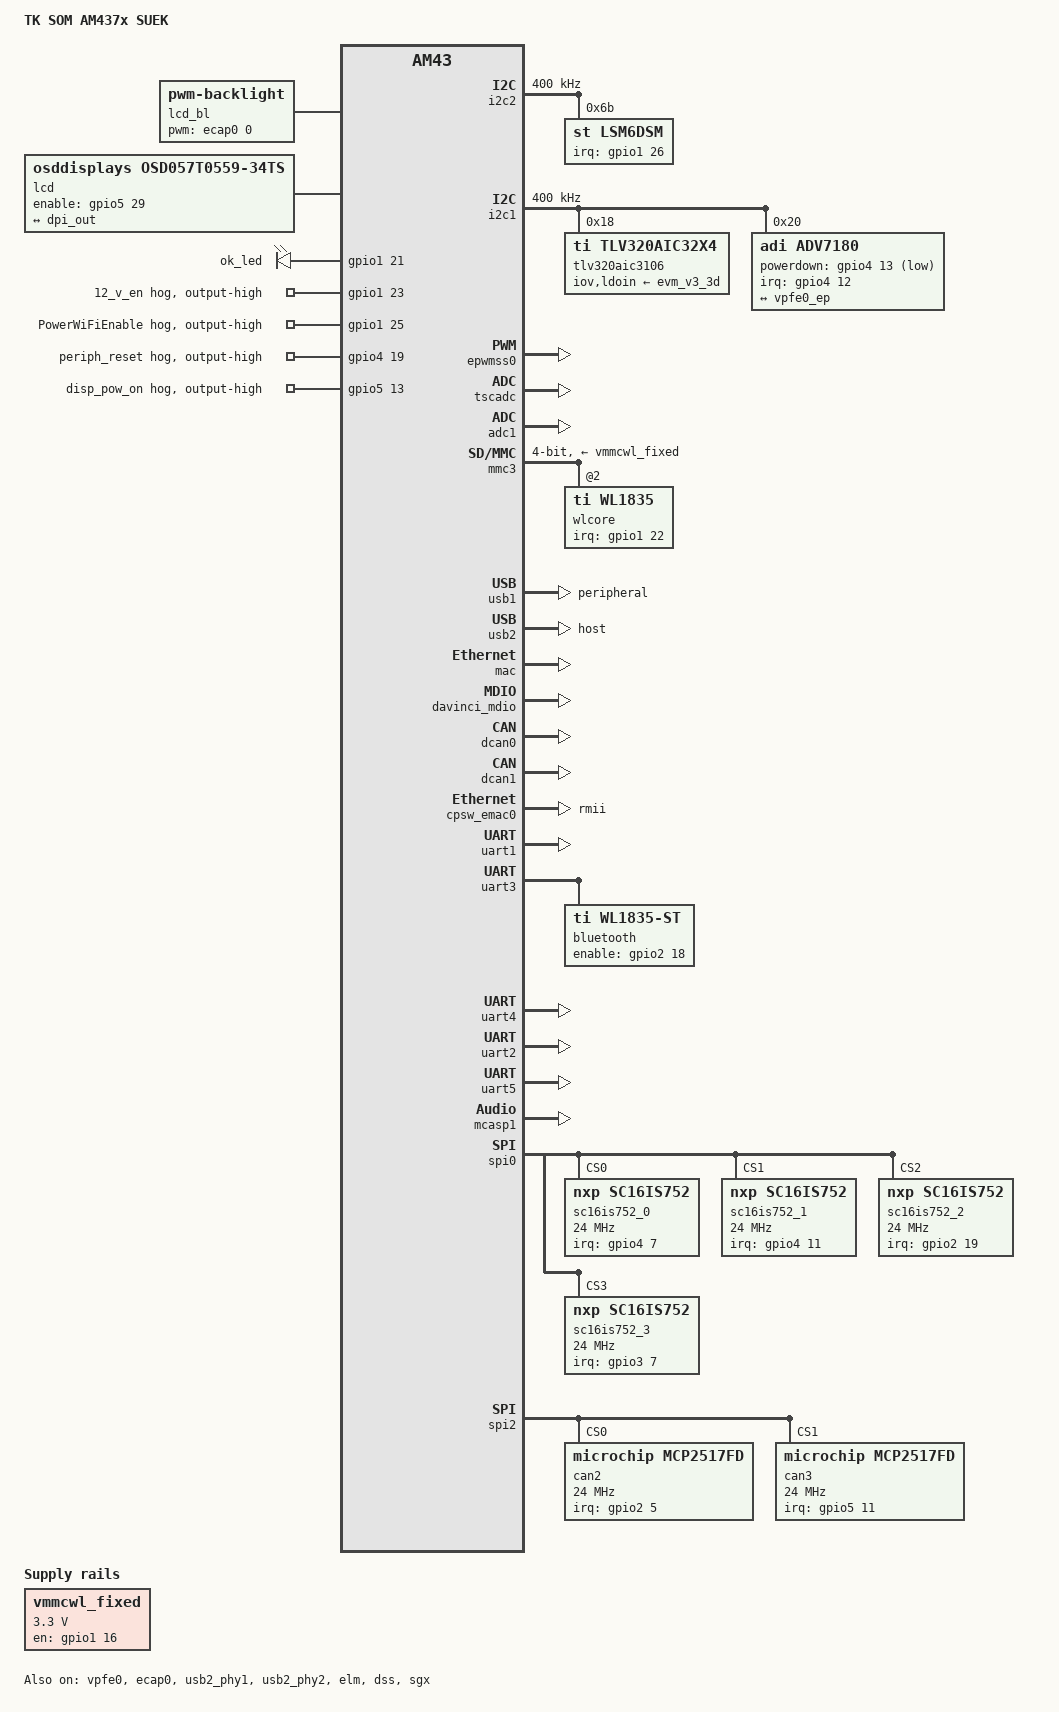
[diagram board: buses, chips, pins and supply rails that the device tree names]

/dts-v1/;

#include "am4372.dtsi"
#include "tk-som-am43xx.dtsi"
#include <dt-bindings/pinctrl/am43xx.h>
#include <dt-bindings/pwm/pwm.h>
#include <dt-bindings/gpio/gpio.h>
#include <dt-bindings/input/input.h>

/ {

	model = "TK SOM AM437x SUEK";
	compatible = "technokom,suek","ti,am4378","ti,am43";

	aliases {
		display0 = &lcd0;
	};

	vmmcwl_fixed: fixedregulator-mmcwl {
		compatible = "regulator-fixed";
		regulator-name = "vmmcwl_fixed";
		regulator-min-microvolt = <3300000>;
		regulator-max-microvolt = <3300000>;
		gpio = <&gpio1 16 GPIO_ACTIVE_HIGH>;
		enable-active-high;
	};

	lcd_bl: backlight {
		compatible = "pwm-backlight";
		pwms = <&ecap0 0 50000 0>;
		brightness-levels = <0 10 20 30 40 50 60 70 80 90 100 124 155 186 217 255>;
		default-brightness-level = <15>;
	};


	lcd0: display {
		compatible = "osddisplays,osd057T0559-34ts", "panel-dpi";
		label = "lcd";
		
		pinctrl-names = "default";
		pinctrl-0 = <&lvds_pin_shutdown>;
		enable-gpios = <&gpio5 29 GPIO_ACTIVE_HIGH>;

		panel-timing {
			clock-frequency = <51206400>;
			hactive = <1024>;
			vactive = <600>;
            hfront-porch = <160>;
            hback-porch = <160>;
            hsync-len = <10>;
            vfront-porch = <12>;
            vback-porch = <23>;
            vsync-len = <10>;
            hsync-active = <0>;
            vsync-active = <0>;
			de-active = <1>;
			pixelclk-active = <1>;
		};

		port {
			lcd_in: endpoint {
				remote-endpoint = <&dpi_out>;
			};
		};
	};

    leds {
		pinctrl-names = "default";
		pinctrl-0 = <&led_pins_default>;

		compatible = "gpio-leds";

		ok_led {
			label = "ok_led";
			gpios = <&gpio1 21 GPIO_ACTIVE_HIGH>;
			default-state = "off";
		};
    };

	sound0: sound@0 {
		compatible = "simple-audio-card";
		simple-audio-card,name = "AM437x-TK";
		simple-audio-card,widgets =
            "Headphone", "Headphone Jack",
			"Line", "Line In",
            "Speaker", "Speaker";
		simple-audio-card,routing =
			"Headphone Jack", "HPL",
			"Headphone Jack", "HPR",
			"CM_L", "Line In",
			"CM_R", "Line In",
			"Speaker", "LOL",
			"Speaker", "LOR";
		simple-audio-card,format = "dsp_b";
		simple-audio-card,bitclock-master = <&sound_master>;
		simple-audio-card,frame-master = <&sound_master>;
		simple-audio-card,bitclock-inversion;

		simple-audio-card,cpu {
			sound-dai = <&mcasp1>;
            system-clock-frequency = <24000000>;
		};

		sound_master: simple-audio-card,codec {
			sound-dai = <&tlv320aic3106>;
			system-clock-frequency = <24000000>;
		};
    };

};

&am43xx_pinmux {
	pinctrl-names = "default";
	pinctrl-0 = <&wlan_pins_default &clkout1_pin>;

    /* can 0 */
	dcan0_default: dcan0_default_pins {
		pinctrl-single,pins = <
			AM4372_IOPAD(0x91c, PIN_OUTPUT | MUX_MODE1)		/* (C16) mii1_txd3.dcan0_tx */
			AM4372_IOPAD(0x920, PIN_INPUT_PULLUP | MUX_MODE1)	/* (C13) mii1_txd2.dcan0_rx */
		>;
	};
    /* can 1 */
	dcan1_default: dcan1_default_pins {
		pinctrl-single,pins = <
			AM4372_IOPAD(0x980, PIN_OUTPUT | MUX_MODE2)		/* uart1_rxd.d_can1_tx */
			AM4372_IOPAD(0x984, PIN_INPUT_PULLUP | MUX_MODE2)	/* uart1_txd.d_can1_rx */
		>;
	};

    /* i2c1 */
	i2c1_pins_default: i2c1_pins_default {
		pinctrl-single,pins = <
			AM4372_IOPAD(0xa40, PIN_INPUT_PULLUP | SLEWCTRL_FAST | MUX_MODE1)  /* (G20) gpio5_10.I2C1_SCL */
			AM4372_IOPAD(0xa48, PIN_INPUT_PULLUP | SLEWCTRL_FAST | MUX_MODE1)  /* (E25) gpio5_12.I2C1_SDA */
		>;
	};

    /* i2c2 */
	i2c2_pins_default: i2c2_pins_default {
		pinctrl-single,pins = <
            AM4372_IOPAD(0x97c, PIN_INPUT_PULLUP | SLEWCTRL_FAST | MUX_MODE3) /* (L22) uart1_rtsn.I2C2_SCL */
			AM4372_IOPAD(0x978, PIN_INPUT_PULLUP | SLEWCTRL_FAST | MUX_MODE3) /* (K22) uart1_ctsn.I2C2_SDA */
		>;
	};

    /* mmc2 wifi */
	mmc2_pins: pinmux_mmc2_pins {
		pinctrl-single,pins = <
			AM4372_IOPAD(0x88c, PIN_INPUT_PULLUP | MUX_MODE3 ) /* (A12) gpmc_clk.mmc2_clk */
			AM4372_IOPAD(0x888, PIN_INPUT_PULLUP | MUX_MODE3 ) /* (B12) gpmc_csn3.mmc2_cmd */
			AM4372_IOPAD(0x844, PIN_INPUT_PULLUP | MUX_MODE3 ) /* (C5) gpmc_a1.mmc2_dat0 */
			AM4372_IOPAD(0x848, PIN_INPUT_PULLUP | MUX_MODE3 ) /* (C6) gpmc_a2.mmc2_dat1 */
			AM4372_IOPAD(0x84c, PIN_INPUT_PULLUP | MUX_MODE3 ) /* (A4) gpmc_a3.mmc2_dat2 */
			AM4372_IOPAD(0x878, PIN_INPUT_PULLUP | MUX_MODE3 ) /* (A3) gpmc_be1n.mmc2_dat3 */
		>;
	};

    /* backlight */
	ecap0_pins_default: backlight_pins_default {
		pinctrl-single,pins = <
			AM4372_IOPAD(0x964, PIN_OUTPUT_PULLUP | MUX_MODE0)       /* eCAP0_in_PWM0_out MODE0 */
		>;
	};

    /* RMII */
	cpsw_default: cpsw_default {
		pinctrl-single,pins = <
			AM4372_IOPAD(0x90c, PIN_INPUT_PULLUP | MUX_MODE1 ) /* (B14) mii1_crs.rmii1_crs_dv */
			AM4372_IOPAD(0x910, PIN_INPUT_PULLUP | MUX_MODE1 ) /* (B13) mii1_rx_er.rmii1_rxer */
			AM4372_IOPAD(0x914, PIN_OUTPUT_PULLDOWN | MUX_MODE1 ) /* (A13) mii1_tx_en.rmii1_txen */
			AM4372_IOPAD(0x928, PIN_OUTPUT_PULLDOWN | MUX_MODE1 ) /* (B15) mii1_txd0.rmii1_txd0 */
			AM4372_IOPAD(0x924, PIN_OUTPUT_PULLDOWN | MUX_MODE1 ) /* (A14) mii1_txd1.rmii1_txd1 */
			AM4372_IOPAD(0x940, PIN_INPUT | MUX_MODE1 ) /* (F17) mii1_rxd0.rmii1_rxd0 */
			AM4372_IOPAD(0x93c, PIN_INPUT | MUX_MODE1 ) /* (B16) mii1_rxd1.rmii1_rxd1 */
			AM4372_IOPAD(0x944, PIN_INPUT_PULLUP | MUX_MODE0 ) /* (A16) rmii1_ref_clk.rmii1_refclk */

		>;
	};

    /* mdio ethernet */
	davinci_mdio_default: davinci_mdio_default {
		pinctrl-single,pins = <
			AM4372_IOPAD(0x948, PIN_INPUT_PULLUP | SLEWCTRL_FAST | MUX_MODE0)	/* mdio_data.mdio_data */
			AM4372_IOPAD(0x94c, PIN_OUTPUT_PULLUP | MUX_MODE0)			/* mdio_clk.mdio_clk */
		>;
	};

    /* display */
	dss_pins: dss_pins {
		pinctrl-single,pins = <
            AM4372_IOPAD(0x8e0, PIN_OUTPUT_PULLUP | MUX_MODE0) /* (B23) dss_vsync.dss_vsync */
            AM4372_IOPAD(0x8e4, PIN_OUTPUT_PULLUP | MUX_MODE0) /* (A23) dss_hsync.dss_hsync */
            AM4372_IOPAD(0x8e8, PIN_OUTPUT_PULLUP | MUX_MODE0) /* (A22) dss_pclk.dss_pclk */
            AM4372_IOPAD(0x8ec, PIN_OUTPUT_PULLUP | MUX_MODE0) /* (A24) dss_ac_bias_en.dss_ac_bias_en */
            AM4372_IOPAD(0x8a0, PIN_OUTPUT_PULLUP | MUX_MODE0) /* (B22) dss_data0.dss_data0 */
            AM4372_IOPAD(0x8a4, PIN_OUTPUT_PULLUP | MUX_MODE0) /* (A21) dss_data1.dss_data1 */
            AM4372_IOPAD(0x8a8, PIN_OUTPUT_PULLUP | MUX_MODE0) /* (B21) dss_data2.dss_data2 */
            AM4372_IOPAD(0x8ac, PIN_OUTPUT_PULLUP | MUX_MODE0) /* (C21) dss_data3.dss_data3 */
            AM4372_IOPAD(0x8b0, PIN_OUTPUT_PULLUP | MUX_MODE0) /* (A20) dss_data4.dss_data4 */
            AM4372_IOPAD(0x8b4, PIN_OUTPUT_PULLUP | MUX_MODE0) /* (B20) dss_data5.dss_data5 */
            AM4372_IOPAD(0x8b8, PIN_OUTPUT_PULLUP | MUX_MODE0) /* (C20) dss_data6.dss_data6 */
            AM4372_IOPAD(0x8bc, PIN_OUTPUT_PULLUP | MUX_MODE0) /* (E19) dss_data7.dss_data7 */
            AM4372_IOPAD(0x8c0, PIN_OUTPUT_PULLUP | MUX_MODE0) /* (A19) dss_data8.dss_data8 */
            AM4372_IOPAD(0x8c4, PIN_OUTPUT_PULLUP | MUX_MODE0) /* (B19) dss_data9.dss_data9 */
            AM4372_IOPAD(0x8c8, PIN_OUTPUT_PULLUP | MUX_MODE0) /* (A18) dss_data10.dss_data10 */
            AM4372_IOPAD(0x8cc, PIN_OUTPUT_PULLUP | MUX_MODE0) /* (B18) dss_data11.dss_data11 */
            AM4372_IOPAD(0x8d0, PIN_OUTPUT_PULLUP | MUX_MODE0) /* (C19) dss_data12.dss_data12 */
            AM4372_IOPAD(0x8d4, PIN_OUTPUT_PULLUP | MUX_MODE0) /* (D19) dss_data13.dss_data13 */
            AM4372_IOPAD(0x8d8, PIN_OUTPUT_PULLUP | MUX_MODE0) /* (C17) dss_data14.dss_data14 */
            AM4372_IOPAD(0x8dc, PIN_OUTPUT_PULLUP | MUX_MODE0) /* (D17) dss_data15.dss_data15 */
            AM4372_IOPAD(0x83c, PIN_OUTPUT_PULLUP | MUX_MODE1) /* (A11) gpmc_ad15.dss_data16 */
            AM4372_IOPAD(0x838, PIN_OUTPUT_PULLUP | MUX_MODE1) /* (B11) gpmc_ad14.dss_data17 */
		>;
	};

	/* display enable */
	dss_pin_enable: dss_pin_enable {
		pinctrl-single,pins = <
			AM4372_IOPAD(0xa4c, PIN_OUTPUT_PULLUP | MUX_MODE7)

		>;
	};

    /* lvds en */
	lvds_pin_shutdown: lvds_pin_shutdown {
		pinctrl-single,pins = <
			AM4372_IOPAD(0xa74, PIN_OUTPUT_PULLUP | MUX_MODE9)

		>;
	};

    /* periph_reset */
   	periph_pin_reset: periph_reset {
		pinctrl-single,pins = <
			AM4372_IOPAD(0x9fc, PIN_OUTPUT | MUX_MODE7) /* (AE23) cam1_data5_gpio4[19] */
		>;
	};

    /* uart1 modem */
    uart1_pins_default: uart1_pins_default {
		pinctrl-single,pins = <
			AM4372_IOPAD(0x9e8, PIN_INPUT_PULLUP | MUX_MODE1) /* (AB20) cam1_data0.uart1_rxd */
			AM4372_IOPAD(0x9ec, PIN_OUTPUT | MUX_MODE1) /* (AC21) cam1_data1.uart1_txd */
			AM4372_IOPAD(0x9f0, PIN_INPUT_PULLUP | MUX_MODE1) /* (AD21) cam1_data2.uart1_ctsn */
			AM4372_IOPAD(0x9f4, PIN_OUTPUT | MUX_MODE1) /* (AE22) cam1_data3.uart1_rtsn */
		>;
	};

    /* sim sel */
	sim_pin_change: sim_pin_change {
		pinctrl-single,pins = <
			AM4372_IOPAD(0xa78, PIN_OUTPUT | MUX_MODE7 ) /* (H20) clkreq.gpio0[24] */
		>;
	};

    /* rs485_1 */
    uart2_pins: uart2_pins {
        pinctrl-single,pins = <
		    AM4372_IOPAD(0x92c, PIN_INPUT_PULLUP | MUX_MODE1 ) /* (D14) mii1_tx_clk.uart2_rxd */
    		AM4372_IOPAD(0x930, PIN_OUTPUT_PULLDOWN | MUX_MODE1 ) /* (D13) mii1_rx_clk.uart2_txd */
    		AM4372_IOPAD(0x834,  PIN_OUTPUT_PULLDOWN | MUX_MODE7 ) /* (C11) gpmc_ad13.gpio1[13] */
	    >;
    };

    /* rs485_2 */
    uart4_pins: uart4_pins {
        pinctrl-single,pins = <
            AM4372_IOPAD(0x968, PIN_INPUT_PULLUP | MUX_MODE1) /* (L25) uart0_ctsn.uart4_rxd */
			AM4372_IOPAD(0x96c, PIN_OUTPUT_PULLDOWN | MUX_MODE1) /* (J25) uart0_rtsn.uart4_txd */
            AM4372_IOPAD(0x830, PIN_OUTPUT_PULLDOWN | MUX_MODE7) /* (E11) gpmc_ad12.gpio1[12] */
	    >;
    };

    /* inputs */
    gpio3_input_pins_default: pinmux_gpio3_input_pins_default {
		pinctrl-single,pins = <
            AM4372_IOPAD(0x994, PIN_INPUT | MUX_MODE7) /* (N22) mcasp0_fsx.gpio3[15] */
			AM4372_IOPAD(0x998, PIN_INPUT | MUX_MODE7) /* (H23) mcasp0_axr0.gpio3[16] */
			AM4372_IOPAD(0x99c, PIN_INPUT | MUX_MODE7) /* (M24) mcasp0_ahclkr.gpio3[17] */
		>;
    };

    led_pins_default: led_pins_default {
		pinctrl-single,pins = <
			AM4372_IOPAD(0x854, PIN_OUTPUT_PULLDOWN | MUX_MODE7) /* (E7) gpmc_a5.gpio1[21] */
		>;
	};

    /* Buzzer */
    buzzer_output_pins_default: pinmux_buzzer_output_pins_default {
		pinctrl-single,pins = <
            AM4372_IOPAD(0x860, PIN_OUTPUT | MUX_MODE7) /* (F7) gpmc_a8.gpio1[24] */
		>;
    };

    /* Brake */
    brake_output_pins_default: pinmux_brake_output_pins_default {
		pinctrl-single,pins = <
            AM4372_IOPAD(0x86c, PIN_OUTPUT | MUX_MODE7) /* (D8) gpmc_a11.gpio1[27] */
		>;
    };

    /* 12V En */
    v12_output_pins_default: pinmux_v12_output_pins_default {
		pinctrl-single,pins = <
            AM4372_IOPAD(0x85c, PIN_OUTPUT | MUX_MODE7) /* (F6) gpmc_a7.gpio1[23] */
		>;
    };

    /* Led */
    led_output_pins_default: pinmux_led_output_pins_default {
		pinctrl-single,pins = <
            AM4372_IOPAD(0x854, PIN_OUTPUT | MUX_MODE7) /* (E7) gpmc_a5.gpio1[21] */
		>;
    };

    /* accl int */
    accl_input_pins_default: pinmux_accl_input_pins_default {
		pinctrl-single,pins = <
            AM4372_IOPAD(0x868, PIN_INPUT_PULLUP | MUX_MODE7) /* (G8) gpmc_a10.gpio1[26] */
		>;
    };

    /* charger int */
    charger_input_pins_default: pinmux_charger_input_pins_default {
		pinctrl-single,pins = <
            AM4372_IOPAD(0x894, PIN_INPUT_PULLUP | MUX_MODE7) /* (E10) gpmc_oen_ren.gpio2[3] */
		>;
    };

    /* inputs */
    gpio4_input_pins_default: pinmux_gpio4_input_pins_default {
		pinctrl-single,pins = <
            AM4372_IOPAD(0x9c8, PIN_INPUT | MUX_MODE7) /* (AA19) cam0_data9.gpio4[6] */
		>;
    };

    /* mcasp1 */
	mcasp1_pins: mcasp1_pins {
		pinctrl-single,pins = <
            AM4372_IOPAD(0x9a0, PIN_INPUT_PULLDOWN | MUX_MODE3) /* (L23) mcasp0_aclkr.mcasp1_aclkx */
			AM4372_IOPAD(0x9a4, PIN_INPUT_PULLDOWN | MUX_MODE3) /* (K23) mcasp0_fsr.mcasp1_fsx */
			AM4372_IOPAD(0x9a8, PIN_OUTPUT_PULLDOWN | MUX_MODE3) /* (M25) mcasp0_axr1.mcasp1_axr0 */
			AM4372_IOPAD(0x9ac, PIN_INPUT_PULLDOWN | MUX_MODE3) /* (L24) mcasp0_ahclkx.mcasp1_axr1 */
		>;
	};

    /* gsm pow on */
	modem_pow_pin_enable: modem_pow_pin_enable {
		pinctrl-single,pins = <
	        AM4372_IOPAD(0x898, PIN_OUTPUT | MUX_MODE7 ) /* (D10) gpmc_wen.gpio2[4] */
		>;
	};


    /* pfo */
	pfo_pin_interrupt: pfo_pin_interrupt {
		pinctrl-single,pins = <
	        AM4372_IOPAD(0x9bc, PIN_INPUT | MUX_MODE7) /* (AD17) cam0_wen.gpio4[3] */
		>;
	};



    /* cam0 */
	vpfe0_pins_default: vpfe0_pins_default {
		pinctrl-single,pins = <
            AM4372_IOPAD(0x9b0, PIN_INPUT_PULLUP | MUX_MODE0) /* (AE17) cam0_hd.cam0_hd */
			AM4372_IOPAD(0x9b4, PIN_INPUT_PULLUP | MUX_MODE0) /* (AD18) cam0_vd.cam0_vd */
			AM4372_IOPAD(0x9c0, PIN_INPUT_PULLUP | MUX_MODE0) /* (AC20) cam0_pclk.cam0_pclk */
			AM4372_IOPAD(0xa08, PIN_INPUT_PULLUP | MUX_MODE0) /* (AE18) cam0_data0.cam0_data0 */
			AM4372_IOPAD(0xa0c, PIN_INPUT_PULLUP | MUX_MODE0) /* (AB18) cam0_data1.cam0_data1 */
			AM4372_IOPAD(0xa10, PIN_INPUT_PULLUP | MUX_MODE0) /* (Y18) cam0_data2.cam0_data2 */
			AM4372_IOPAD(0xa14, PIN_INPUT_PULLUP | MUX_MODE0) /* (AA18) cam0_data3.cam0_data3 */
			AM4372_IOPAD(0xa18, PIN_INPUT_PULLUP | MUX_MODE0) /* (AE19) cam0_data4.cam0_data4 */
			AM4372_IOPAD(0xa1c, PIN_INPUT_PULLUP | MUX_MODE0) /* (AD19) cam0_data5.cam0_data5 */
			AM4372_IOPAD(0xa20, PIN_INPUT_PULLUP | MUX_MODE0) /* (AE20) cam0_data6.cam0_data6 */
			AM4372_IOPAD(0xa24, PIN_INPUT_PULLUP | MUX_MODE0) /* (AD20) cam0_data7.cam0_data7 */
		>;
	};

    /* cam0 i2c*/
	vpfe0_pins_control_default: vpfe0_pins_control_default {
		pinctrl-single,pins = <
            AM4372_IOPAD(0x9b8, PIN_INPUT | MUX_MODE7) /* (AC18) cam0_field.gpio4[2] */

			AM4372_IOPAD(0x9e0, PIN_INPUT | MUX_MODE7) /* (AC25) cam1_field.gpio4[12] */
			AM4372_IOPAD(0x9e4, PIN_OUTPUT_PULLUP | MUX_MODE7) /* (AB25) cam1_wen.gpio4[13] */
		>;
	};

    /* mclk */
	clkout1_pin: pinmux_clkout1_pin {
		pinctrl-single,pins = <
			AM4372_IOPAD(0xa70, PIN_OUTPUT_PULLDOWN | MUX_MODE3)	/* XDMA_EVENT_INTR0/CLKOUT1 */
		>;
	};

    /* uart3 bt */
    uart3_pins: uart3_pins {
        pinctrl-single,pins = <
            AM4372_IOPAD(0xa28, PIN_INPUT | MUX_MODE0) /* (H25) uart3_rxd.uart3_rxd */
			AM4372_IOPAD(0xa2c, PIN_OUTPUT_PULLDOWN | MUX_MODE0) /* (H24) uart3_txd.uart3_txd */
			AM4372_IOPAD(0xa30, PIN_INPUT_PULLUP | MUX_MODE0) /* (H22) uart3_ctsn.uart3_ctsn */
			AM4372_IOPAD(0xa34, PIN_OUTPUT_PULLDOWN | MUX_MODE0) /* (K24) uart3_rtsn.uart3_rtsn */

            AM4372_IOPAD(0x934, PIN_OUTPUT | MUX_MODE7) /* (C14) mii1_rxd3.gpior2[18] bt enable*/
	    >;
    };

    /* uart gps */
    uart5_pins: uart5_pins {
        pinctrl-single,pins = <
    		AM4372_IOPAD(0x908, PIN_INPUT_PULLUP | MUX_MODE3 ) /* (D16) mii1_col.uart5_rxd */
    		AM4372_IOPAD(0x918, PIN_OUTPUT_PULLDOWN | MUX_MODE3 ) /* (A15) mii1_rx_dv.uart5_txd */

            AM4372_IOPAD(0xa38, PIN_OUTPUT | MUX_MODE7) /* (D25) gpio5_8.gpio5[8] gps pow on*/
	    >;
    };

    /* wlan pins */
	wlan_pins_default: pinmux_wlan_pins_default {
		pinctrl-single,pins = <
			AM4372_IOPAD(0x858, PIN_INPUT  | WAKEUP_ENABLE | MUX_MODE7 ) /* (E8) gpmc_a6.gpio1[22] irq*/
            AM4372_IOPAD(0x840, PIN_OUTPUT | MUX_MODE7) /* (C3) gpmc_a0.gpio1[16] wifi enable*/
            AM4372_IOPAD(0x864, PIN_OUTPUT | MUX_MODE7) /* (B4) gpmc_a9.gpio1[25] power en*/
		>;
	};

    /* spi0 */
	spi0_pins: spi0_pins {
		pinctrl-single,pins = <
            AM4372_IOPAD(0x950, PIN_INPUT_PULLUP | MUX_MODE0) /* (P23) spi0_sclk.spi0_sclk */
			AM4372_IOPAD(0x954, PIN_INPUT_PULLDOWN | MUX_MODE0) /* (T22) spi0_d0.spi0_d0 */
			AM4372_IOPAD(0x958, PIN_INPUT_PULLDOWN | MUX_MODE0) /* (T21) spi0_d1.spi0_d1 */
			AM4372_IOPAD(0x95c, PIN_INPUT | MUX_MODE0) /* (T20) spi0_cs0.spi0_cs0 */
			AM4372_IOPAD(0x960, PIN_INPUT | MUX_MODE0) /* (R25) spi0_cs1.spi0_cs1 */
			AM4372_IOPAD(0x9d0, PIN_INPUT | MUX_MODE2) /* (AD24) cam1_data8.spi0_cs2 */
			AM4372_IOPAD(0x9d4, PIN_INPUT | MUX_MODE2) /* (AD25) cam1_hd.spi0_cs3 */

            AM4372_IOPAD(0x9cc, PIN_INPUT | MUX_MODE7) /* (AC24) cam1_data9.gpio4[7] brige 0*/
            AM4372_IOPAD(0x9dc, PIN_INPUT | MUX_MODE7) /* (AE21) cam1_pclk.gpio4[11] brige 1*/
            AM4372_IOPAD(0x938, PIN_INPUT | MUX_MODE7) /* (E16) mii1_rxd2.gpio2[19] brige 2*/
            AM4372_IOPAD(0xaa4, PIN_INPUT | MUX_MODE7) /* (N23) EMU0.gpio3[7] bridge 3*/

		>;
	};

    /* spi2 */
	spi2_pins: spi2_pins {
		pinctrl-single,pins = <
            AM4372_IOPAD(0xa60, PIN_INPUT_PULLUP | MUX_MODE0) /* (N20) spi2_sclk.spi2_sclk */
			AM4372_IOPAD(0xa64, PIN_INPUT | MUX_MODE0) /* (P22) spi2_d0.spi2_d0 */
			AM4372_IOPAD(0xa68, PIN_INPUT | MUX_MODE0) /* (P20) spi2_d1.spi2_d1 */
			AM4372_IOPAD(0xa6c, PIN_INPUT | MUX_MODE0) /* (T23) spi2_cs0.spi2_cs0 */
			AM4372_IOPAD(0x9d8, PIN_INPUT | MUX_MODE4) /* (AC23) cam1_vd.spi2_cs2 */

            AM4372_IOPAD(0xa44, PIN_INPUT_PULLUP | MUX_MODE7) /* (F23) gpio5_11.gpio5[11] brige 4*/
            AM4372_IOPAD(0x89c, PIN_INPUT_PULLUP | MUX_MODE7) /* (C10) gpmc_be0n_cle.gpio2[5] brige 5*/

		>;
	};

};

&i2c2 {
	status = "okay";
	pinctrl-names = "default";
	pinctrl-0 = <&i2c2_pins_default &accl_input_pins_default>;
	clock-frequency = <400000>;

    lsm6dsm@6b {
    	compatible = "st,lsm6dsm";
	    reg = <0x6b>;
    	interrupt-parent = <&gpio1>;
    	interrupts = <26 IRQ_TYPE_EDGE_RISING>;
    };
};

&i2c1 {
	status = "okay";
	pinctrl-names = "default";
	pinctrl-0 = <&i2c1_pins_default &charger_input_pins_default>;
	clock-frequency = <400000>;


	tlv320aic3106: tlv320aic3106@18 {
		#sound-dai-cells = <0>;
		compatible = "ti,tlv320aic32x4";
		reg = <0x18>;
		status = "okay";
	    clocks = <&audio_mstrclk>;
	    clock-names = "mclk";

        iov-supply = <&evm_v3_3d>;
        ldoin-supply = <&evm_v3_3d>;

	};


	adv7180@20 {
		compatible = "adi,adv7180";
        powerdown-gpios = <&gpio4 13 GPIO_ACTIVE_LOW>;
    	pinctrl-names = "default";
		pinctrl-0 = <&vpfe0_pins_control_default>;
		interrupt-parent = <&gpio4>;
		interrupts = <12 IRQ_TYPE_LEVEL_LOW>;

		reg = <0x20>;

		port {
			adv7180_0: endpoint {
				remote-endpoint = <&vpfe0_ep>;
                ti,am437x-vpfe-interface = <1>;
                bus-width = <8>;
			};
		};
	};

};

&vpfe0 {
	status = "okay";
	pinctrl-names = "default";
	pinctrl-0 = <&vpfe0_pins_default>;

	port {
		vpfe0_ep: endpoint {
			remote-endpoint = <&adv7180_0>;
			ti,am437x-vpfe-interface = <1>;
			bus-width = <8>;
		};
	};
};

&epwmss0	 {
	status = "okay";
};

&tscadc {
	status = "okay";

	tsc {
		ti,wires = <4>;
		ti,x-plate-resistance = <760>;
		ti,coordinate-readouts = <5>;
		ti,wire-config = <0x00 0x11 0x22 0x33>;
		ti,charge-delay = <0x400>;
	};

	adc {
		ti,adc-channels = <4 5 6 7>;
	};
};


&adc1 {
	status = "okay";
	ti,adc-channels = <0 1 2 3 4 5 6 7>;
};


&mmc3 {
	status = "okay";
	dmas = <&edma_xbar 30 0 1>,
		<&edma_xbar 31 0 2>;
	dma-names = "tx", "rx";
	vmmc-supply = <&vmmcwl_fixed>;

	bus-width = <4>;
	pinctrl-names = "default";
	pinctrl-0 = <&mmc2_pins>;
	cap-power-off-card;
	keep-power-in-suspend;
	#address-cells = <1>;
	#size-cells = <0>;

	wlcore: wlcore@0 {
		compatible = "ti,wl1835";
		reg = <2>;
		interrupt-parent = <&gpio1>;
		interrupts = <22 IRQ_TYPE_LEVEL_HIGH>;
	};
};

&ecap0 {
	status = "okay";
	pinctrl-names = "default";
	pinctrl-0 = <&ecap0_pins_default>;
};

&gpio0 {
	status = "okay";
	pinctrl-0 = <&sim_pin_change>;
};

&gpio1 {
	status = "okay";
	pinctrl-0 = <&brake_output_pins_default &buzzer_output_pins_default &v12_output_pins_default>;
	p23 {
		gpio-hog;
		gpios = <23 GPIO_ACTIVE_HIGH>;
		output-high;
		line-name = "12_v_en";
	};
	p25 {
		gpio-hog;
		gpios = <25 GPIO_ACTIVE_HIGH>;
		output-high;
		line-name = "PowerWiFiEnable";
	};
};

&gpio2 {
	status = "okay";
	pinctrl-0 = <&modem_pow_pin_enable>;
};

&gpio3 {
	pinctrl-0 = <&gpio3_input_pins_default>;
	status = "okay";

};

&gpio4 {
	status = "okay";
    pinctrl-0 = <&gpio4_input_pins_default &periph_pin_reset &pfo_pin_interrupt>;
	p19 {
		gpio-hog;
		gpios = <19 GPIO_ACTIVE_HIGH>;
		output-high;
		line-name = "periph_reset";
	};
};

&gpio5 {
	status = "okay";
	pinctrl-0 = <&dss_pin_enable>;
	p13 {
		gpio-hog;
		gpios = <13 GPIO_ACTIVE_HIGH>;
		output-high;
		line-name = "disp_pow_on";
	};
};

&usb2_phy1 {
	status = "okay";
};

&usb1 {
	dr_mode = "peripheral";
	status = "okay";
};

&usb2_phy2 {
	status = "okay";
};

&usb2 {
	dr_mode = "host";
	status = "okay";
};

&mac {
	slaves = <1>;
	pinctrl-names = "default";
	pinctrl-0 = <&cpsw_default>;
	status = "okay";
};

&davinci_mdio {
	pinctrl-names = "default";
	pinctrl-0 = <&davinci_mdio_default>;
	status = "okay";
};

&dcan0 {
	pinctrl-names = "default";
	pinctrl-0 = <&dcan0_default>;
	status = "okay";
};

&dcan1 {
	pinctrl-names = "default";
	pinctrl-0 = <&dcan1_default>;
	status = "okay";
};

&cpsw_emac0 {
	phy_id = <&davinci_mdio>, <7>;
	phy-mode = "rmii";
};

&phy_sel {
	rmii-clock-ext;
};

&elm {
	status = "okay";
};


&uart1 {
	status = "okay";
	pinctrl-names = "default";
	pinctrl-0 = <&uart1_pins_default>;
};

&uart3 {
	status = "okay";
	pinctrl-names = "default";
	pinctrl-0 = <&uart3_pins>;

	bluetooth {
		compatible = "ti,wl1835-st";
		enable-gpios = <&gpio2 18 GPIO_ACTIVE_HIGH>;
	};

};

&uart4 {
    compatible = "ti,omap2-uart-legacy";
	status = "okay";
	pinctrl-names = "default";
	pinctrl-0 = <&uart4_pins>;
    rts-gpio = <&gpio1 12 GPIO_ACTIVE_HIGH>;
    rs485-rts-active-high;
    rs485-rts-delay = <0 0>;
    linux,rs485-enabled-at-boot-time;
};

&uart2 {
    compatible = "ti,omap2-uart-legacy";
	status = "okay";
	pinctrl-names = "default";
	pinctrl-0 = <&uart2_pins>;
    rts-gpio = <&gpio1 24 GPIO_ACTIVE_HIGH>;
    rs485-rts-active-high;
    rs485-rts-delay = <0 0>;
    linux,rs485-enabled-at-boot-time;
};

&uart5 {
	status = "okay";
	pinctrl-names = "default";
	pinctrl-0 = <&uart5_pins>;
};

&mcasp1 {
	#sound-dai-cells = <0>;
	pinctrl-names = "default";
	pinctrl-0 = <&mcasp1_pins>;

	status = "okay";

	op-mode = <0>; /* MCASP_IIS_MODE */
	tdm-slots = <2>;
	/* 4 serializers */
	serial-dir = <  /* 0: INACTIVE, 1: TX, 2: RX */
		1 2 0 0
	>;
	tx-num-evt = <32>;
	rx-num-evt = <32>;
};

&dss {
	status = "okay";

	pinctrl-names = "default";
	pinctrl-0 = <&dss_pins>;

	port {
		dpi_out: endpoint@0 {
			remote-endpoint = <&lcd_in>;
			data-lines = <18>;
		};
	};
};

&spi0 {
	pinctrl-names = "default";
	pinctrl-0 = <&spi0_pins>;
	status = "okay";
	ti,spi-num-cs = <4>;
	ti,pindir-d0-out-d1-in;
	
	sc16is752_0: sc16is752@0 {
		compatible = "nxp,sc16is752";
		reg = <0>;
		spi-max-frequency = <24000000>;
		clocks = <&sc_mstrclk>;
		interrupt-parent = <&gpio4>;
		interrupts = <7 IRQ_TYPE_EDGE_FALLING>;
		gpio-controller;
		#gpio-cells = <2>;
	};

	sc16is752_1: sc16is752@1 {
		compatible = "nxp,sc16is752";
		reg = <1>;
		spi-max-frequency = <24000000>;
		clocks = <&sc_mstrclk>;
		interrupt-parent = <&gpio4>;
		interrupts = <11 IRQ_TYPE_EDGE_FALLING>;
		gpio-controller;
		#gpio-cells = <2>;
	};

	sc16is752_2: sc16is752@2 {
		compatible = "nxp,sc16is752";
		reg = <2>;
		spi-max-frequency = <24000000>;
		clocks = <&sc_mstrclk>;
		interrupt-parent = <&gpio2>;
		interrupts = <19 IRQ_TYPE_EDGE_FALLING>;
		gpio-controller;
		#gpio-cells = <2>;
	};

	sc16is752_3: sc16is752@3 {
		compatible = "nxp,sc16is752";
		reg = <3>;
		spi-max-frequency = <24000000>;
		clocks = <&sc_mstrclk>;
		interrupt-parent = <&gpio3>;
		interrupts = <7 IRQ_TYPE_EDGE_FALLING>;
		gpio-controller;
		#gpio-cells = <2>;
	};
};

&spi2 {
	pinctrl-names = "default";
	pinctrl-0 = <&spi2_pins>;
	status = "okay";
	ti,spi-num-cs = <2>;
	ti,pindir-d0-out-d1-in;

	can2: can@0 {
		compatible = "microchip,mcp2517fd";
		reg = <0>;
        spi-max-frequency = <24000000>;
		clocks = <&sc_mstrclk>;
		interrupt-parent = <&gpio2>;
		interrupts = <5 IRQ_TYPE_EDGE_FALLING>;
	};

	can3: can@1 {
		compatible = "microchip,mcp2517fd";
		reg = <1>;
        spi-max-frequency = <24000000>;
		clocks = <&sc_mstrclk>;
		interrupt-parent = <&gpio5>;
		interrupts = <11 IRQ_TYPE_EDGE_FALLING>;
	};

};

&rtc {
	status = "disabled";
};

&sgx {
	status = "okay";
};
